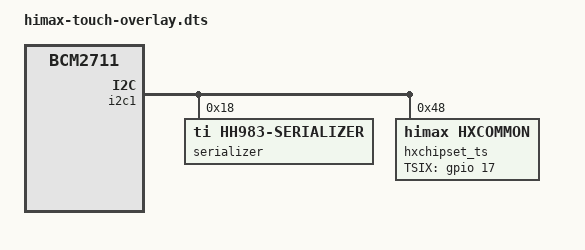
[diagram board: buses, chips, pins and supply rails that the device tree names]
/*
 * Device Tree Overlay for Himax TDDI Touch Controller
 * with TI HH983 FPDLink-III Serializer on Raspberry Pi 4
 *
 * Enable in /boot/config.txt:
 *   dtoverlay=himax-touch
 */

/dts-v1/;
/plugin/;

/ {
	compatible = "brcm,bcm2711";

	/* Fragment 0: Add I2C devices to i2c1 */
	fragment@0 {
		target = <&i2c1>;
		__overlay__ {
			#address-cells = <1>;
			#size-cells = <0>;

			/* TI HH983 FPDLink-III Serializer */
			serializer@18 {
				compatible = "ti,hh983-serializer";
				reg = <0x18>;
				status = "okay";
			};

			/* Himax TDDI Touch Controller */
			hxchipset_ts@48 {
				compatible = "himax,hxcommon";
				reg = <0x48>;
				status = "okay";
				report_type = <1>;
				himax,TSIX = <&gpio 17 0>; /* GPIO17 for interrupt */
			};
		};
	};

	/* Fragment 1: Configure GPIO17 as input with pull-up */
	fragment@1 {
		target = <&gpio>;
		__overlay__ {
			himax_pins: himax_pins {
				brcm,pins = <17>;
				brcm,function = <0>; /* Input */
				brcm,pull = <2>; /* Pull-up */
			};
		};
	};
};
